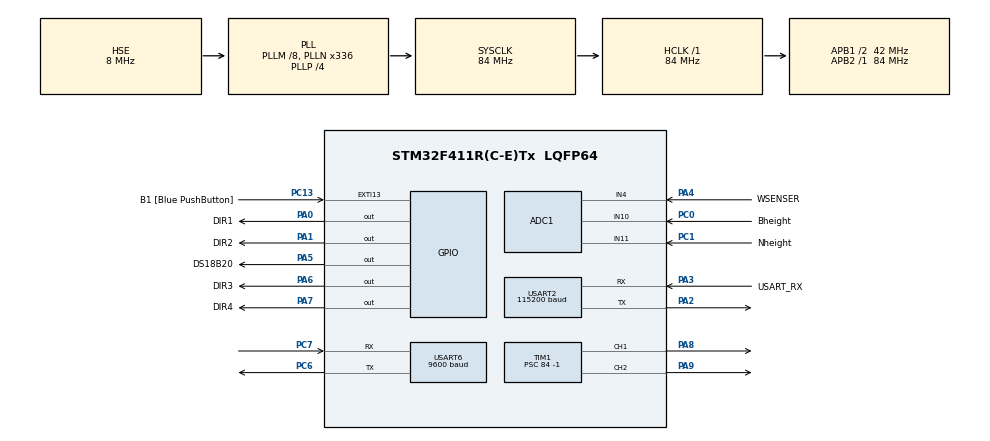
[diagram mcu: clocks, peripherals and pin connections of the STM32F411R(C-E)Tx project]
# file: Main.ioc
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ADC1.Channel-1\#ChannelRegularConversion=ADC_CHANNEL_4
ADC1.Channel-2\#ChannelRegularConversion=ADC_CHANNEL_10
ADC1.Channel-3\#ChannelRegularConversion=ADC_CHANNEL_11
ADC1.ClockPrescaler=ADC_CLOCK_SYNC_PCLK_DIV6
ADC1.DMAContinuousRequests=ENABLE
ADC1.NbrOfConversion=3
ADC1.NbrOfConversionFlag=1
ADC1.Rank-1\#ChannelRegularConversion=1
ADC1.Rank-2\#ChannelRegularConversion=2
ADC1.Rank-3\#ChannelRegularConversion=3
ADC1.SamplingTime-1\#ChannelRegularConversion=ADC_SAMPLETIME_28CYCLES
ADC1.SamplingTime-2\#ChannelRegularConversion=ADC_SAMPLETIME_28CYCLES
ADC1.SamplingTime-3\#ChannelRegularConversion=ADC_SAMPLETIME_28CYCLES
ADC1.master=1
Dma.ADC1.0.Direction=DMA_PERIPH_TO_MEMORY
Dma.ADC1.0.FIFOMode=DMA_FIFOMODE_DISABLE
Dma.ADC1.0.Instance=DMA2_Stream0
Dma.ADC1.0.MemDataAlignment=DMA_MDATAALIGN_HALFWORD
Dma.ADC1.0.MemInc=DMA_MINC_ENABLE
Dma.ADC1.0.Mode=DMA_NORMAL
Dma.ADC1.0.PeriphDataAlignment=DMA_PDATAALIGN_HALFWORD
Dma.ADC1.0.PeriphInc=DMA_PINC_DISABLE
Dma.ADC1.0.Priority=DMA_PRIORITY_LOW
Dma.Request0=ADC1
Mcu.Family=STM32F4
Mcu.Name=STM32F411R(C-E)Tx
Mcu.Package=LQFP64
NVIC.DMA2_Stream0_IRQn=true\:0\:0\:false\:false\:true\:false\:true\:true
NVIC.PriorityGroup=NVIC_PRIORITYGROUP_0
NVIC.RCC_IRQn=true\:0\:0\:false\:false\:true\:true\:false\:true
NVIC.TIM3_IRQn=true\:0\:0\:false\:false\:true\:true\:true\:true
NVIC.USART6_IRQn=true\:0\:0\:false\:false\:true\:true\:true\:true
PA0-WKUP.GPIO_Label=DIR1
PA0-WKUP.Signal=GPIO_Output
PA1.GPIO_Label=DIR2
PA1.Signal=GPIO_Output
PA13.GPIO_Label=TMS
PA13.Mode=Serial_Wire
PA13.Signal=SYS_JTMS-SWDIO
PA14.GPIO_Label=TCK
PA14.Mode=Serial_Wire
PA14.Signal=SYS_JTCK-SWCLK
PA2.Mode=Asynchronous
PA2.Signal=USART2_TX
PA3.GPIO_Label=USART_RX
PA3.Mode=Asynchronous
PA3.Signal=USART2_RX
PA4.GPIO_Label=WSENSER
PA4.Signal=ADCx_IN4
PA5.GPIO_Label=DS18B20
PA5.Signal=GPIO_Output
PA6.GPIO_Label=DIR3
PA6.Signal=GPIO_Output
PA7.GPIO_Label=DIR4
PA7.Signal=GPIO_Output
PA8.Signal=S_TIM1_CH1
PA9.Signal=S_TIM1_CH2
PB3.GPIO_Label=SWO
PB3.Signal=SYS_JTDO-SWO
PC0.GPIO_Label=Bheight
PC0.Signal=ADCx_IN10
PC1.GPIO_Label=Nheight
PC1.Signal=ADCx_IN11
PC13-ANTI_TAMP.GPIO_Label=B1 [Blue PushButton]
PC13-ANTI_TAMP.GPIO_ModeDefaultEXTI=GPIO_MODE_IT_FALLING
PC13-ANTI_TAMP.Signal=GPXTI13
PC14-OSC32_IN.Mode=LSE-External-Oscillator
PC14-OSC32_IN.Signal=RCC_OSC32_IN
PC15-OSC32_OUT.Mode=LSE-External-Oscillator
PC15-OSC32_OUT.Signal=RCC_OSC32_OUT
PC6.Mode=Asynchronous
PC6.Signal=USART6_TX
PC7.Mode=Asynchronous
PC7.Signal=USART6_RX
PH0\ -\ OSC_IN.Mode=HSE-External-Oscillator
PH0\ -\ OSC_IN.Signal=RCC_OSC_IN
PH1\ -\ OSC_OUT.Mode=HSE-External-Oscillator
PH1\ -\ OSC_OUT.Signal=RCC_OSC_OUT
ProjectManager.HeapSize=0x200
ProjectManager.StackSize=0x400
ProjectManager.TargetToolchain=STM32CubeIDE
RCC.48MHZClocksFreq_Value=84000000
RCC.AHBFreq_Value=84000000
RCC.APB1CLKDivider=RCC_HCLK_DIV2
RCC.APB1Freq_Value=42000000
RCC.APB1TimFreq_Value=84000000
RCC.APB2Freq_Value=84000000
RCC.APB2TimFreq_Value=84000000
RCC.CortexFreq_Value=84000000
RCC.FLatency-AdvancedSettings=FLASH_LATENCY_2
RCC.HCLKFreq_Value=84000000
RCC.HSE_VALUE=8000000
RCC.HSI_VALUE=16000000
RCC.PLLM=8
RCC.PLLN=336
RCC.PLLP=RCC_PLLP_DIV4
RCC.PLLSourceVirtual=RCC_PLLSOURCE_HSE
RCC.RCC_RTC_Clock_Source=RCC_RTCCLKSOURCE_LSE
RCC.RCC_RTC_Clock_SourceVirtual=RCC_RTCCLKSOURCE_LSE
RCC.SYSCLKFreq_VALUE=84000000
RCC.SYSCLKSource=RCC_SYSCLKSOURCE_PLLCLK
RCC.VCOOutputFreq_Value=336000000
SH.ADCx_IN10.0=ADC1_IN10,IN10
SH.ADCx_IN11.0=ADC1_IN11,IN11
SH.ADCx_IN4.0=ADC1_IN4,IN4
SH.S_TIM1_CH1.0=TIM1_CH1,PWM Generation1 CH1
SH.S_TIM1_CH2.0=TIM1_CH2,PWM Generation2 CH2
TIM1.Channel-PWM\ Generation1\ CH1=TIM_CHANNEL_1
TIM1.Channel-PWM\ Generation2\ CH2=TIM_CHANNEL_2
TIM1.Period=1000-1
TIM1.Prescaler=84 -1
TIM10.Period=1000-1
TIM10.Prescaler=84-1
TIM3.Period=1000-1
TIM3.Prescaler=84-1
USART2.BaudRate=115200
USART2.VirtualMode=VM_ASYNC
USART6.BaudRate=9600
USART6.VirtualMode=VM_ASYNC
VP_RTC_VS_RTC_Activate.Mode=RTC_Enabled
VP_RTC_VS_RTC_Calendar.Mode=RTC_Calendar
VP_TIM10_VS_ClockSourceINT.Mode=Enable_Timer
VP_TIM1_VS_ClockSourceINT.Mode=Internal
VP_TIM3_VS_ClockSourceINT.Mode=Internal
board=NUCLEO-F411RE

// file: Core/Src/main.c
/* USER CODE BEGIN Header */
/**
  ******************************************************************************
  * @file           : main.c
  * @brief          : Main program body
  ******************************************************************************
  * @attention
  *
  * Copyright (c) 2024 STMicroelectronics.
  * All rights reserved.
  *
  * This software is licensed under terms that can be found in the LICENSE file
  * in the root directory of this software component.
  * If no LICENSE file comes with this software, it is provided AS-IS.
  *
  ******************************************************************************
  */
/* USER CODE END Header */
#include "main.h"

/* USER CODE BEGIN Includes */
#include <stdio.h>
#include <string.h>
#include <time.h>
/* USER CODE END Includes */

/* USER CODE BEGIN PD */
#define MOTOR_MAX_SPEED 999
#ifdef __GNUC__
/* With GCC, small printf (option LD Linker->Libraries->Small printf
   set to 'Yes') calls __io_putchar() */
#define PUTCHAR_PROTOTYPE int __io_putchar(int ch)
#else
#define PUTCHAR_PROTOTYPE int fputc(int ch, FILE *f)
#endif /* __GNUC__ */
#define ARR_CNT 5
#define CMD_SIZE 50
#define DS18B20_PIN_GPIO_Port GPIOC
#define DS18B20_PIN GPIO_PIN_2
/* USER CODE END PD */

ADC_HandleTypeDef hadc1;
DMA_HandleTypeDef hdma_adc1;

RTC_HandleTypeDef hrtc;

TIM_HandleTypeDef htim1;
TIM_HandleTypeDef htim3;
TIM_HandleTypeDef htim10;

UART_HandleTypeDef huart2;
UART_HandleTypeDef huart6;

/* USER CODE BEGIN PV */
volatile uint32_t adc_value;
volatile uint8_t percentage;
volatile uint32_t height;
volatile int tim3Flag1Sec;
volatile unsigned int tim3Sec;
uint8_t rx2char;
volatile unsigned char rx2Flag = 0;
volatile char rx2Data[50];
volatile unsigned char btFlag = 0;
uint8_t btchar;
char btData[50];
__IO uint16_t ADCxConvertValue[3] = {0};
__IO int adcFlag = 0;
uint16_t adc1;
float vSense;
volatile uint8_t rx_data;
volatile float Temperature;
/* USER CODE END PV */

void SystemClock_Config(void);
static void MX_GPIO_Init(void);
static void MX_DMA_Init(void);
static void MX_USART2_UART_Init(void);
static void MX_TIM1_Init(void);
static void MX_ADC1_Init(void);
static void MX_TIM3_Init(void);
static void MX_USART6_UART_Init(void);
static void MX_RTC_Init(void);
static void MX_TIM10_Init(void);
/* USER CODE BEGIN PFP */
void Send_Data_To_SQL(const char *name, const char *date, const char *time,
                      uint16_t turbidity, uint16_t temperature, uint16_t level1, uint16_t level2);
void Get_Current_Time(char *date, char *time);
void Motor_SetSpeed(uint16_t speed);
void Motor_SetDirection(uint8_t direction);
void Motor_Start(void);
void Motor_Stop(void);
void Motor2_SetSpeed(uint16_t speed);
void Motor2_SetDirection(uint8_t direction);
void Motor2_Start(void);
void Motor2_Stop(void);
uint8_t Convert_ADC_To_Percentage(uint16_t adc_value);
void bluetooth_Event();

/* USER CODE END PFP */

int main(void)
{

  /* USER CODE BEGIN 1 */
	uint8_t Presence=0;
	uint8_t Temp_byte1,Temp_byte2;
	uint16_t TEMP;
  /* USER CODE END 1 */

  /* MCU Configuration--------------------------------------------------------*/

  /* Reset of all peripherals, Initializes the Flash interface and the Systick. */
  HAL_Init();

  /* Configure the system clock */
  SystemClock_Config();

  /* Initialize all configured peripherals */
  MX_GPIO_Init();
  MX_DMA_Init();
  MX_USART2_UART_Init();
  MX_TIM1_Init();
  MX_ADC1_Init();
  MX_TIM3_Init();
  MX_USART6_UART_Init();
  MX_RTC_Init();
  MX_TIM10_Init();
  /* USER CODE BEGIN 2 */
  char buff[30];
  DS18B20_init();
  HAL_TIM_PWM_Start(&htim1, TIM_CHANNEL_1);
  HAL_TIM_PWM_Start(&htim1, TIM_CHANNEL_2);
  HAL_UART_Receive_IT(&huart2, &rx2char,1);
  HAL_UART_Receive_IT(&huart6, &btchar,1);
  if(HAL_TIM_Base_Start_IT(&htim3) != HAL_OK)
  {
 	 Error_Handler();
  }
  if(HAL_ADC_Start_DMA(&hadc1,(uint32_t *)ADCxConvertValue, 3) != HAL_OK)
  {
	  Error_Handler();
  }
  /* USER CODE END 2 */

  /* Infinite loop */
  /* USER CODE BEGIN WHILE */
  while (1)
  {
	  Presence = DS18B20_Start ();
	  if(Presence==1)
	  {
		  DS18B20_Write (0xCC);  // skip ROM
		  DS18B20_Write (0x44);  // convert t

		  Presence = DS18B20_Start();
		  if(Presence==1)
		  {
			  DS18B20_Write (0xCC);  // skip ROM
			  DS18B20_Write (0xBE);  // Read Scratch-pad
			  Temp_byte1 = DS18B20_Read();
			  Temp_byte2 = DS18B20_Read();
			  TEMP = ((Temp_byte2<<8))|Temp_byte1;
			  Temperature = (float)TEMP/16.0;  // resolution is 0.0625
		  }
	  }
	  int temperature = (int)Temperature;
      int Turbidity = ADCxConvertValue[0];
      int Level1 = ADCxConvertValue[1];
      int Level2 = ADCxConvertValue[2];
	  if(rx2Flag)
	  {
		  printf("recv2 : %s\r\n",rx2Data);
		  rx2Flag =0;
	  }
	  if(btFlag)
	  {
		  btFlag =0;
		  bluetooth_Event();
	  }
	  if(tim3Flag1Sec)
	  {
		  tim3Flag1Sec = 0;
	      char date[11];
	      char time[9];
		  char sendsBuf[CMD_SIZE];

	      Get_Current_Time(date, time);
		  printf("tim3Sec : %d\r\n",tim3Sec);
	      if(tim3Sec % 5 == 0)
	      {
			  Send_Data_To_SQL("KSW_SQL", date, time, Turbidity, temperature, Level1, Level2);
	      }
	      else
	      {
			  snprintf(sendsBuf, CMD_SIZE, "[%s]%s@%u@%u@%u@%u\n","KSW_ARD", "DATA", Turbidity, temperature, Level1, Level2);
			  HAL_UART_Transmit(&huart6, (uint8_t *)sendsBuf, strlen(sendsBuf), HAL_MAX_DELAY);
			  printf("Sending Arduino: %s\r\n", sendsBuf);
	      }
		  if(adcFlag)
		  {
			  if(HAL_ADC_Start_DMA(&hadc1,(uint32_t *)ADCxConvertValue, 3) != HAL_OK)
			  {
				  Error_Handler();
			  }
		  }
		  if(Turbidity < 2000 && Level1 > 1800  && Level2 < 3900)
		  {
			  Motor_SetDirection(0); //공급 모터
			  Motor_SetSpeed(800);
			  Motor2_SetDirection(0); //배출 모터
			  Motor2_SetSpeed(800);
			  printf("Cleaning Water\r\n");
		  }
		  else if(Level2 > 3900)
		  {
			  Motor_SetDirection(1); //배출 모터
			  Motor_SetSpeed(800);
			  printf("Discharge\r\n");
		  }
		  else if(Level2 < 2500)
		  {
			  Motor2_SetDirection(1); //공급 모터
			  Motor2_SetSpeed(800);
			  printf("supply\r\n");
		  }
		  else if(Level1 < 1500)
		  {
			  printf("Motor Stop\r\n");
			  printf("Supply water_Shortage\r\n");
			  Motor_Stop();
			  Motor2_Stop();
		  }
		  else
		  {
			  printf("Motor Stop\r\n");
			  Motor_Stop();
			  Motor2_Stop();
		  }
	  }
	  //Motor_SetDirection(1); //배출 모터
	  //Motor_SetSpeed(999);
    /* USER CODE END WHILE */

  }
}

void SystemClock_Config(void)
{
  RCC_OscInitTypeDef RCC_OscInitStruct = {0};
  RCC_ClkInitTypeDef RCC_ClkInitStruct = {0};

  /** Configure the main internal regulator output voltage
  */
  __HAL_RCC_PWR_CLK_ENABLE();
  __HAL_PWR_VOLTAGESCALING_CONFIG(PWR_REGULATOR_VOLTAGE_SCALE1);

  /** Initializes the RCC Oscillators according to the specified parameters
  * in the RCC_OscInitTypeDef structure.
  */
  RCC_OscInitStruct.OscillatorType = RCC_OSCILLATORTYPE_HSE|RCC_OSCILLATORTYPE_LSE;
  RCC_OscInitStruct.HSEState = RCC_HSE_ON;
  RCC_OscInitStruct.LSEState = RCC_LSE_ON;
  RCC_OscInitStruct.PLL.PLLState = RCC_PLL_ON;
  RCC_OscInitStruct.PLL.PLLSource = RCC_PLLSOURCE_HSE;
  RCC_OscInitStruct.PLL.PLLM = 8;
  RCC_OscInitStruct.PLL.PLLN = 336;
  RCC_OscInitStruct.PLL.PLLP = RCC_PLLP_DIV4;
  RCC_OscInitStruct.PLL.PLLQ = 4;
  if (HAL_RCC_OscConfig(&RCC_OscInitStruct) != HAL_OK)
  {
    Error_Handler();
  }

  /** Initializes the CPU, AHB and APB buses clocks
  */
  RCC_ClkInitStruct.ClockType = RCC_CLOCKTYPE_HCLK|RCC_CLOCKTYPE_SYSCLK
                              |RCC_CLOCKTYPE_PCLK1|RCC_CLOCKTYPE_PCLK2;
  RCC_ClkInitStruct.SYSCLKSource = RCC_SYSCLKSOURCE_PLLCLK;
  RCC_ClkInitStruct.AHBCLKDivider = RCC_SYSCLK_DIV1;
  RCC_ClkInitStruct.APB1CLKDivider = RCC_HCLK_DIV2;
  RCC_ClkInitStruct.APB2CLKDivider = RCC_HCLK_DIV1;

  if (HAL_RCC_ClockConfig(&RCC_ClkInitStruct, FLASH_LATENCY_2) != HAL_OK)
  {
    Error_Handler();
  }
}

static void MX_ADC1_Init(void)
{

  ADC_ChannelConfTypeDef sConfig = {0};

  /** Configure the global features of the ADC (Clock, Resolution, Data Alignment and number of conversion)
  */
  hadc1.Instance = ADC1;
  hadc1.Init.ClockPrescaler = ADC_CLOCK_SYNC_PCLK_DIV6;
  hadc1.Init.Resolution = ADC_RESOLUTION_12B;
  hadc1.Init.ScanConvMode = ENABLE;
  hadc1.Init.ContinuousConvMode = DISABLE;
  hadc1.Init.DiscontinuousConvMode = DISABLE;
  hadc1.Init.ExternalTrigConvEdge = ADC_EXTERNALTRIGCONVEDGE_NONE;
  hadc1.Init.ExternalTrigConv = ADC_SOFTWARE_START;
  hadc1.Init.DataAlign = ADC_DATAALIGN_RIGHT;
  hadc1.Init.NbrOfConversion = 3;
  hadc1.Init.DMAContinuousRequests = ENABLE;
  hadc1.Init.EOCSelection = ADC_EOC_SINGLE_CONV;
  if (HAL_ADC_Init(&hadc1) != HAL_OK)
  {
    Error_Handler();
  }

  /** Configure for the selected ADC regular channel its corresponding rank in the sequencer and its sample time.
  */
  sConfig.Channel = ADC_CHANNEL_4;
  sConfig.Rank = 1;
  sConfig.SamplingTime = ADC_SAMPLETIME_28CYCLES;
  if (HAL_ADC_ConfigChannel(&hadc1, &sConfig) != HAL_OK)
  {
    Error_Handler();
  }

  /** Configure for the selected ADC regular channel its corresponding rank in the sequencer and its sample time.
  */
  sConfig.Channel = ADC_CHANNEL_10;
  sConfig.Rank = 2;
  if (HAL_ADC_ConfigChannel(&hadc1, &sConfig) != HAL_OK)
  {
    Error_Handler();
  }

  /** Configure for the selected ADC regular channel its corresponding rank in the sequencer and its sample time.
  */
  sConfig.Channel = ADC_CHANNEL_11;
  sConfig.Rank = 3;
  if (HAL_ADC_ConfigChannel(&hadc1, &sConfig) != HAL_OK)
  {
    Error_Handler();
  }

}

static void MX_RTC_Init(void)
{

  RTC_TimeTypeDef sTime = {0};
  RTC_DateTypeDef sDate = {0};

  /** Initialize RTC Only
  */
  hrtc.Instance = RTC;
  hrtc.Init.HourFormat = RTC_HOURFORMAT_24;
  hrtc.Init.AsynchPrediv = 127;
  hrtc.Init.SynchPrediv = 255;
  hrtc.Init.OutPut = RTC_OUTPUT_DISABLE;
  hrtc.Init.OutPutPolarity = RTC_OUTPUT_POLARITY_HIGH;
  hrtc.Init.OutPutType = RTC_OUTPUT_TYPE_OPENDRAIN;
  if (HAL_RTC_Init(&hrtc) != HAL_OK)
  {
    Error_Handler();
  }

  /** Initialize RTC and set the Time and Date
  */
  sTime.Hours = 0x23;
  sTime.Minutes = 0x10;
  sTime.Seconds = 0x0;
  sTime.DayLightSaving = RTC_DAYLIGHTSAVING_NONE;
  sTime.StoreOperation = RTC_STOREOPERATION_RESET;
  if (HAL_RTC_SetTime(&hrtc, &sTime, RTC_FORMAT_BCD) != HAL_OK)
  {
    Error_Handler();
  }
  sDate.WeekDay = 0x03;
  sDate.Month = RTC_MONTH_NOVEMBER;
  sDate.Date = 0x27;
  sDate.Year = 0x24;

  if (HAL_RTC_SetDate(&hrtc, &sDate, RTC_FORMAT_BCD) != HAL_OK)
  {
    Error_Handler();
  }

}

static void MX_TIM1_Init(void)
{

  TIM_ClockConfigTypeDef sClockSourceConfig = {0};
  TIM_MasterConfigTypeDef sMasterConfig = {0};
  TIM_OC_InitTypeDef sConfigOC = {0};
  TIM_BreakDeadTimeConfigTypeDef sBreakDeadTimeConfig = {0};

  htim1.Instance = TIM1;
  htim1.Init.Prescaler = 84 -1;
  htim1.Init.CounterMode = TIM_COUNTERMODE_UP;
  htim1.Init.Period = 1000-1;
  htim1.Init.ClockDivision = TIM_CLOCKDIVISION_DIV1;
  htim1.Init.RepetitionCounter = 0;
  htim1.Init.AutoReloadPreload = TIM_AUTORELOAD_PRELOAD_DISABLE;
  if (HAL_TIM_Base_Init(&htim1) != HAL_OK)
  {
    Error_Handler();
  }
  sClockSourceConfig.ClockSource = TIM_CLOCKSOURCE_INTERNAL;
  if (HAL_TIM_ConfigClockSource(&htim1, &sClockSourceConfig) != HAL_OK)
  {
    Error_Handler();
  }
  if (HAL_TIM_PWM_Init(&htim1) != HAL_OK)
  {
    Error_Handler();
  }
  sMasterConfig.MasterOutputTrigger = TIM_TRGO_RESET;
  sMasterConfig.MasterSlaveMode = TIM_MASTERSLAVEMODE_DISABLE;
  if (HAL_TIMEx_MasterConfigSynchronization(&htim1, &sMasterConfig) != HAL_OK)
  {
    Error_Handler();
  }
  sConfigOC.OCMode = TIM_OCMODE_PWM1;
  sConfigOC.Pulse = 0;
  sConfigOC.OCPolarity = TIM_OCPOLARITY_HIGH;
  sConfigOC.OCNPolarity = TIM_OCNPOLARITY_HIGH;
  sConfigOC.OCFastMode = TIM_OCFAST_DISABLE;
  sConfigOC.OCIdleState = TIM_OCIDLESTATE_RESET;
  sConfigOC.OCNIdleState = TIM_OCNIDLESTATE_RESET;
  if (HAL_TIM_PWM_ConfigChannel(&htim1, &sConfigOC, TIM_CHANNEL_1) != HAL_OK)
  {
    Error_Handler();
  }
  if (HAL_TIM_PWM_ConfigChannel(&htim1, &sConfigOC, TIM_CHANNEL_2) != HAL_OK)
  {
    Error_Handler();
  }
  sBreakDeadTimeConfig.OffStateRunMode = TIM_OSSR_DISABLE;
  sBreakDeadTimeConfig.OffStateIDLEMode = TIM_OSSI_DISABLE;
  sBreakDeadTimeConfig.LockLevel = TIM_LOCKLEVEL_OFF;
  sBreakDeadTimeConfig.DeadTime = 0;
  sBreakDeadTimeConfig.BreakState = TIM_BREAK_DISABLE;
  sBreakDeadTimeConfig.BreakPolarity = TIM_BREAKPOLARITY_HIGH;
  sBreakDeadTimeConfig.AutomaticOutput = TIM_AUTOMATICOUTPUT_DISABLE;
  if (HAL_TIMEx_ConfigBreakDeadTime(&htim1, &sBreakDeadTimeConfig) != HAL_OK)
  {
    Error_Handler();
  }
  HAL_TIM_MspPostInit(&htim1);

}

static void MX_TIM3_Init(void)
{

  TIM_ClockConfigTypeDef sClockSourceConfig = {0};
  TIM_MasterConfigTypeDef sMasterConfig = {0};

  htim3.Instance = TIM3;
  htim3.Init.Prescaler = 84-1;
  htim3.Init.CounterMode = TIM_COUNTERMODE_UP;
  htim3.Init.Period = 1000-1;
  htim3.Init.ClockDivision = TIM_CLOCKDIVISION_DIV1;
  htim3.Init.AutoReloadPreload = TIM_AUTORELOAD_PRELOAD_DISABLE;
  if (HAL_TIM_Base_Init(&htim3) != HAL_OK)
  {
    Error_Handler();
  }
  sClockSourceConfig.ClockSource = TIM_CLOCKSOURCE_INTERNAL;
  if (HAL_TIM_ConfigClockSource(&htim3, &sClockSourceConfig) != HAL_OK)
  {
    Error_Handler();
  }
  sMasterConfig.MasterOutputTrigger = TIM_TRGO_RESET;
  sMasterConfig.MasterSlaveMode = TIM_MASTERSLAVEMODE_DISABLE;
  if (HAL_TIMEx_MasterConfigSynchronization(&htim3, &sMasterConfig) != HAL_OK)
  {
    Error_Handler();
  }

}

static void MX_TIM10_Init(void)
{

  htim10.Instance = TIM10;
  htim10.Init.Prescaler = 84-1;
  htim10.Init.CounterMode = TIM_COUNTERMODE_UP;
  htim10.Init.Period = 1000-1;
  htim10.Init.ClockDivision = TIM_CLOCKDIVISION_DIV1;
  htim10.Init.AutoReloadPreload = TIM_AUTORELOAD_PRELOAD_DISABLE;
  if (HAL_TIM_Base_Init(&htim10) != HAL_OK)
  {
    Error_Handler();
  }

}

static void MX_USART2_UART_Init(void)
{

  huart2.Instance = USART2;
  huart2.Init.BaudRate = 115200;
  huart2.Init.WordLength = UART_WORDLENGTH_8B;
  huart2.Init.StopBits = UART_STOPBITS_1;
  huart2.Init.Parity = UART_PARITY_NONE;
  huart2.Init.Mode = UART_MODE_TX_RX;
  huart2.Init.HwFlowCtl = UART_HWCONTROL_NONE;
  huart2.Init.OverSampling = UART_OVERSAMPLING_16;
  if (HAL_UART_Init(&huart2) != HAL_OK)
  {
    Error_Handler();
  }

}

static void MX_USART6_UART_Init(void)
{

  huart6.Instance = USART6;
  huart6.Init.BaudRate = 9600;
  huart6.Init.WordLength = UART_WORDLENGTH_8B;
  huart6.Init.StopBits = UART_STOPBITS_1;
  huart6.Init.Parity = UART_PARITY_NONE;
  huart6.Init.Mode = UART_MODE_TX_RX;
  huart6.Init.HwFlowCtl = UART_HWCONTROL_NONE;
  huart6.Init.OverSampling = UART_OVERSAMPLING_16;
  if (HAL_UART_Init(&huart6) != HAL_OK)
  {
    Error_Handler();
  }

}

static void MX_DMA_Init(void)
{

  /* DMA controller clock enable */
  __HAL_RCC_DMA2_CLK_ENABLE();

  /* DMA interrupt init */
  /* DMA2_Stream0_IRQn interrupt configuration */
  HAL_NVIC_SetPriority(DMA2_Stream0_IRQn, 0, 0);
  HAL_NVIC_EnableIRQ(DMA2_Stream0_IRQn);

}

static void MX_GPIO_Init(void)
{
  GPIO_InitTypeDef GPIO_InitStruct = {0};

  /* GPIO Ports Clock Enable */
  __HAL_RCC_GPIOC_CLK_ENABLE();
  __HAL_RCC_GPIOH_CLK_ENABLE();
  __HAL_RCC_GPIOA_CLK_ENABLE();
  __HAL_RCC_GPIOB_CLK_ENABLE();

  /*Configure GPIO pin Output Level */
  HAL_GPIO_WritePin(GPIOA, DIR1_Pin|DIR2_Pin|DS18B20_Pin|DIR3_Pin
                          |DIR4_Pin, GPIO_PIN_RESET);

  /*Configure GPIO pin : B1_Pin */
  GPIO_InitStruct.Pin = B1_Pin;
  GPIO_InitStruct.Mode = GPIO_MODE_IT_FALLING;
  GPIO_InitStruct.Pull = GPIO_NOPULL;
  HAL_GPIO_Init(B1_GPIO_Port, &GPIO_InitStruct);

  /*Configure GPIO pins : DIR1_Pin DIR2_Pin DS18B20_Pin DIR3_Pin
                           DIR4_Pin */
  GPIO_InitStruct.Pin = DIR1_Pin|DIR2_Pin|DS18B20_Pin|DIR3_Pin
                          |DIR4_Pin;
  GPIO_InitStruct.Mode = GPIO_MODE_OUTPUT_PP;
  GPIO_InitStruct.Pull = GPIO_NOPULL;
  GPIO_InitStruct.Speed = GPIO_SPEED_FREQ_LOW;
  HAL_GPIO_Init(GPIOA, &GPIO_InitStruct);

}

/* USER CODE BEGIN 4 */
void Get_Current_Time(char *date, char *time)
{
    RTC_TimeTypeDef sTime;
    RTC_DateTypeDef sDate;

    HAL_RTC_GetTime(&hrtc, &sTime, RTC_FORMAT_BIN);
    HAL_RTC_GetDate(&hrtc, &sDate, RTC_FORMAT_BIN);

    snprintf(date, 11, "%04d.%02d.%02d", 2000 + sDate.Year, sDate.Month, sDate.Date);
    snprintf(time, 9, "%02d:%02d:%02d", sTime.Hours, sTime.Minutes, sTime.Seconds);
}

void Send_Data_To_SQL(const char *name, const char *date, const char *time, uint16_t turbidity, uint16_t temperature, uint16_t level1, uint16_t level2)
{
    char sendBuf[CMD_SIZE];
    snprintf(sendBuf, CMD_SIZE, "[%s]%s@%s@%u@%u@%u@%u\n",
             name, date, time, turbidity, temperature, level1, level2);
    printf("Sending Data: %s\r\n", sendBuf);
    HAL_UART_Transmit(&huart6, (uint8_t *)sendBuf, strlen(sendBuf), HAL_MAX_DELAY);
}

uint8_t Convert_ADC_To_Percentage(uint16_t adc_value)
{
    return (uint8_t)((adc_value * 100) / 4095);
}
void Motor_SetSpeed(uint16_t speed)
{
  if (speed > MOTOR_MAX_SPEED)
    speed = MOTOR_MAX_SPEED;
  __HAL_TIM_SET_COMPARE(&htim1, TIM_CHANNEL_1, speed);
}
void Motor_SetDirection(uint8_t direction)
{
  if (direction == 1)
  {
    HAL_GPIO_WritePin(GPIOA, DIR1_Pin, GPIO_PIN_SET);  // DIR1 = HIGH
    HAL_GPIO_WritePin(GPIOA, DIR2_Pin, GPIO_PIN_RESET); // DIR2 = LOW
  }
  else
  {
    HAL_GPIO_WritePin(GPIOA, DIR1_Pin, GPIO_PIN_RESET); // DIR1 = LOW
    HAL_GPIO_WritePin(GPIOA, DIR2_Pin, GPIO_PIN_SET);  // DIR2 = HIGH
  }
}
void Motor_Start(void)
{
  Motor_SetSpeed(999);
}
void Motor_Stop(void)
{
  Motor_SetSpeed(0);
}
void Motor2_SetSpeed(uint16_t speed)
{
  if (speed > MOTOR_MAX_SPEED)
    speed = MOTOR_MAX_SPEED;
  __HAL_TIM_SET_COMPARE(&htim1, TIM_CHANNEL_2, speed);
}
void Motor2_SetDirection(uint8_t direction)
{
  if (direction == 1)
  {
    HAL_GPIO_WritePin(GPIOA, DIR3_Pin, GPIO_PIN_SET);  // DIR1 = HIGH
    HAL_GPIO_WritePin(GPIOA, DIR4_Pin, GPIO_PIN_RESET); // DIR2 = LOW
  }
  else
  {
    HAL_GPIO_WritePin(GPIOA, DIR3_Pin, GPIO_PIN_RESET); // DIR1 = LOW
    HAL_GPIO_WritePin(GPIOA, DIR4_Pin, GPIO_PIN_SET);  // DIR2 = HIGH
  }
}
void Motor2_Start(void)
{
  Motor2_SetSpeed(999);
}
void Motor2_Stop(void)
{
  Motor2_SetSpeed(0);
}
/**
  * @brief  Retargets the C library printf function to the USART.
  * @param  None
  * @retval None
  */
PUTCHAR_PROTOTYPE
{
  /* Place your implementation of fputc here */
  /* e.g. write a character to the USART6 and Loop until the end of transmission */
  HAL_UART_Transmit(&huart2, (uint8_t *)&ch, 1, 0xFFFF);

  return ch;
}
void HAL_TIM_PeriodElapsedCallback(TIM_HandleTypeDef *htim)
{
	static int tim3Cnt = 0;
	tim3Cnt++;
	if(tim3Cnt == 1000) //1ms * 1000
	{
		tim3Flag1Sec = 1;
		tim3Sec++;
		tim3Cnt = 0;
	}
}
void bluetooth_Event()
{

  int i=0;
  char * pToken;
  char * pArray[ARR_CNT]={0};
  char recvBuf[CMD_SIZE]={0};
  char sendBuf[CMD_SIZE]={0};
  strcpy(recvBuf,btData);

  printf("btData : %s\r\n",btData);

  pToken = strtok(recvBuf,"[@]");
  while(pToken != NULL)
  {
    pArray[i] =  pToken;
    if(++i >= ARR_CNT)
      break;
    pToken = strtok(NULL,"[@]");
  }
//  printf("pArray[0] : %s\r\n",pArray[0]);
//  printf("pArray[1] : %s\r\n",pArray[1]);
//  printf("pArray[2] : %s\r\n",pArray[2]);
  if(!strncmp(pArray[1]," New conn",sizeof(" New conn")))
  {
      return;
  }
  else if(!strncmp(pArray[1]," Already log",sizeof(" Already log")))
  {
      return;
  }
  else
      return;

  sprintf(sendBuf,"[%s]%s@%s\n",pArray[0],pArray[1],pArray[2]);
  HAL_UART_Transmit(&huart6, (uint8_t *)sendBuf, strlen(sendBuf), 0xFFFF);
}
void HAL_UART_RxCpltCallback(UART_HandleTypeDef *huart)
{
    if(huart->Instance == USART2)
    {
    	static int i=0;
    	rx2Data[i] = rx2char;
    	if((rx2Data[i] == '\r')||(btData[i] == '\n'))
    	{
    		rx2Data[i] = '\0';
    		rx2Flag = 1;
    		i = 0;
    	}
    	else
    	{
    		i++;
    	}
    	HAL_UART_Receive_IT(&huart2, &rx2char,1);
    }
    if(huart->Instance == USART6)
    {
    	static int i=0;
    	btData[i] = btchar;
    	if((btData[i] == '\n') || btData[i] == '\r')
    	{
    		btData[i] = '\0';
    		btFlag = 1;
    		i = 0;
    	}
    	else
    	{
    		i++;
    	}
    	HAL_UART_Receive_IT(&huart6, &btchar,1);
    }
}
void HAL_ADC_ConvCpltCallback(ADC_HandleTypeDef *AdcHandle)
{
	adcFlag = 1;
}
/* USER CODE END 4 */

void Error_Handler(void)
{
  __disable_irq();
  while (1)
  {
  }
}
